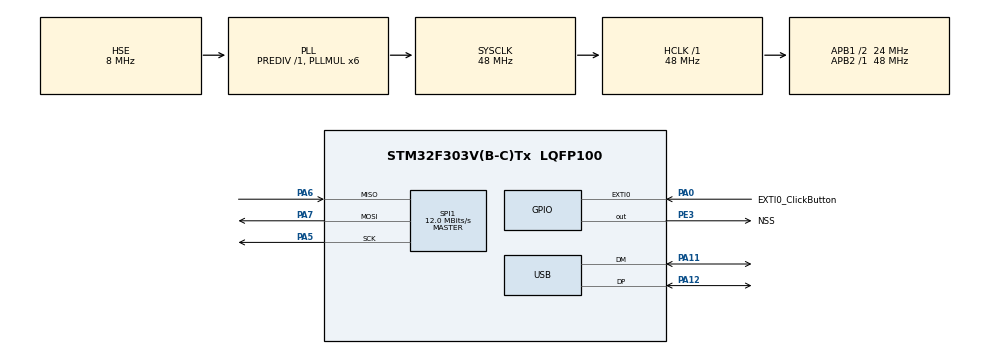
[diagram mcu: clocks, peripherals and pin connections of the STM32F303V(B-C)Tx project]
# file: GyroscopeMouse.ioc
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Mcu.Family=STM32F3
Mcu.Name=STM32F303V(B-C)Tx
Mcu.Package=LQFP100
NVIC.EXTI0_IRQn=true\:0\:0\:false\:false\:true\:true\:true
NVIC.PriorityGroup=NVIC_PRIORITYGROUP_4
NVIC.USB_LP_CAN_RX0_IRQn=true\:0\:0\:false\:false\:true\:false\:true
PA0.GPIO_Label=EXTI0_ClickButton
PA0.GPIO_ModeDefaultEXTI=GPIO_MODE_IT_FALLING
PA0.Signal=GPXTI0
PA11.Mode=Device
PA11.Signal=USB_DM
PA12.Mode=Device
PA12.Signal=USB_DP
PA5.Mode=Full_Duplex_Master
PA5.Signal=SPI1_SCK
PA6.Mode=Full_Duplex_Master
PA6.Signal=SPI1_MISO
PA7.Mode=Full_Duplex_Master
PA7.Signal=SPI1_MOSI
PE3.GPIO_Label=NSS
PE3.GPIO_Speed=GPIO_SPEED_FREQ_HIGH
PE3.PinState=GPIO_PIN_SET
PE3.Signal=GPIO_Output
PF0-OSC_IN.Mode=HSE-External-Oscillator
PF0-OSC_IN.Signal=RCC_OSC_IN
PF1-OSC_OUT.Mode=HSE-External-Oscillator
PF1-OSC_OUT.Signal=RCC_OSC_OUT
ProjectManager.HeapSize=0x1000
ProjectManager.StackSize=0x2000
ProjectManager.TargetToolchain=MDK-ARM V5
RCC.AHBFreq_Value=48000000
RCC.APB1CLKDivider=RCC_HCLK_DIV2
RCC.APB1Freq_Value=24000000
RCC.APB1TimFreq_Value=48000000
RCC.APB2Freq_Value=48000000
RCC.APB2TimFreq_Value=48000000
RCC.CortexFreq_Value=48000000
RCC.HCLKFreq_Value=48000000
RCC.HSE_VALUE=8000000
RCC.HSI_VALUE=8000000
RCC.LSE_VALUE=32768
RCC.PLLMUL=RCC_PLL_MUL6
RCC.SYSCLKFreq_VALUE=48000000
RCC.SYSCLKSourceVirtual=RCC_SYSCLKSOURCE_PLLCLK
RCC.USBFreq_Value=48000000
SPI1.BaudRatePrescaler=SPI_BAUDRATEPRESCALER_4
SPI1.CalculateBaudRate=12.0 MBits/s
SPI1.DataSize=SPI_DATASIZE_8BIT
SPI1.Direction=SPI_DIRECTION_2LINES
SPI1.Mode=SPI_MODE_MASTER
SPI1.VirtualType=VM_MASTER
USB_DEVICE.CLASS_NAME_FS=HID
USB_DEVICE.VirtualMode=Hid
USB_DEVICE.VirtualModeFS=Hid_FS
VP_USB_DEVICE_VS_USB_DEVICE_HID_FS.Mode=HID_FS
board=custom

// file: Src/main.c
/* USER CODE BEGIN Header */
/**
  ******************************************************************************
  * @file           : main.c
  * @brief          : Main program body
  ******************************************************************************
  * @attention
  *
  * <h2><center>&copy; Copyright (c) 2021 STMicroelectronics.
  * All rights reserved.</center></h2>
  *
  * This software component is licensed by ST under Ultimate Liberty license
  * SLA0044, the "License"; You may not use this file except in compliance with
  * the License. You may obtain a copy of the License at:
  *                             www.st.com/SLA0044
  *
  ******************************************************************************
  */
/* USER CODE END Header */
#include "main.h"
#include "usb_device.h"

/* USER CODE BEGIN Includes */
#include "usbd_hid.h"
/* USER CODE END Includes */

/* USER CODE BEGIN PD */
#define WHOAMI		0x0F
#define CTRL_REG1	0x20
#define TEMP			0x26
#define OUT_XL		0x28
#define OUT_XH		0x29
#define OUT_YL		0x2A
#define OUT_YH		0x2B
/* USER CODE END PD */

SPI_HandleTypeDef hspi1;

/* USER CODE BEGIN PV */
extern USBD_HandleTypeDef hUsbDeviceFS;
uint8_t clickflag = 0;
/* USER CODE END PV */

void SystemClock_Config(void);
static void MX_GPIO_Init(void);
static void MX_SPI1_Init(void);

/* USER CODE BEGIN 0 */

// ** Function to read the registers of the SPI sensor. **
// The reason the buffers are defined with size 2 is because SPI is a send-and-recieve protocol, so during the transmission
// of the first 8 bits (address) it is confused and sends garbage value. After the address transmission has finished, It will
// respond with the proper value on the second 8 bits, so we will have to send some value (here 0) just to get our reception.
uint8_t ReadSensor(uint8_t address, uint8_t* res)
{
		uint8_t txdata[2] = {0x80|address, 0};										// According to the gyroscope datasheet, the first bit
																															// in the 8-bit sequence must be "1" to indicate "read"
																															// hence why we OR the address with 0b1000_0000 = 0x80
		uint8_t rxdata[2] = {0, 0};
		HAL_GPIO_WritePin(GPIOE, GPIO_PIN_3, 0);									// Set NSS to 0 to begin the transmission between Master and Slave
		HAL_SPI_TransmitReceive(&hspi1, txdata, rxdata, 2, 100);
		HAL_GPIO_WritePin(GPIOE, GPIO_PIN_3, 1);									// Release the slave from the SPI bus by NSS = 1
		*res = rxdata[1];																				// The first read value (rxdata[0]) is garbage
}

void HAL_GPIO_EXTI_Callback(uint16_t GPIO_Pin)
{
  clickflag = 0x01;
}

/* USER CODE END 0 */

int main(void)
{

  /* MCU Configuration--------------------------------------------------------*/

  /* Reset of all peripherals, Initializes the Flash interface and the Systick. */
  HAL_Init();

  /* Configure the system clock */
  SystemClock_Config();

  /* Initialize all configured peripherals */
  MX_GPIO_Init();
  MX_USB_DEVICE_Init();
  MX_SPI1_Init();

  /* Infinite loop */
  /* USER CODE BEGIN WHILE */

	//Setting the gyroscope to Normal mode from power down, via the CTRL_REG1 register
	uint8_t cr1w[2] = {CTRL_REG1, 0x0F};
	HAL_GPIO_WritePin(GPIOE, GPIO_PIN_3, 0);	// NSS = 0, begin transmission
	HAL_SPI_Transmit(&hspi1, cr1w, 2, 100);
	HAL_GPIO_WritePin(GPIOE, GPIO_PIN_3, 1);  // NSS = 1, release the slave & stop transmission

	short X, Y, Z;
  while (1)
  {
    /* USER CODE END WHILE */

    /* USER CODE BEGIN 3 */
		uint8_t xl=0,xh=0,yl=0,yh=0,zl=0,zh=0;
		ReadSensor(OUT_XL, &xl);
		ReadSensor(OUT_XH, &xh);
		ReadSensor(OUT_YL, &yl);
		ReadSensor(OUT_YH, &yh);
		X = xh<<8 | xl;
		Y = yh<<8 | yl;

		uint8_t usbbuf[5] = {clickflag, Y/300, -X/300, 0x00, 0x00}; //5 bytes: click,X,Y,scroll,wakeup
		USBD_HID_SendReport(&hUsbDeviceFS, usbbuf, 5);
		clickflag = 0;

		HAL_Delay(10);
  }
  /* USER CODE END 3 */
}

void SystemClock_Config(void)
{
  RCC_OscInitTypeDef RCC_OscInitStruct = {0};
  RCC_ClkInitTypeDef RCC_ClkInitStruct = {0};
  RCC_PeriphCLKInitTypeDef PeriphClkInit = {0};

  /** Initializes the RCC Oscillators according to the specified parameters
  * in the RCC_OscInitTypeDef structure.
  */
  RCC_OscInitStruct.OscillatorType = RCC_OSCILLATORTYPE_HSE;
  RCC_OscInitStruct.HSEState = RCC_HSE_ON;
  RCC_OscInitStruct.HSEPredivValue = RCC_HSE_PREDIV_DIV1;
  RCC_OscInitStruct.HSIState = RCC_HSI_ON;
  RCC_OscInitStruct.PLL.PLLState = RCC_PLL_ON;
  RCC_OscInitStruct.PLL.PLLSource = RCC_PLLSOURCE_HSE;
  RCC_OscInitStruct.PLL.PLLMUL = RCC_PLL_MUL6;
  if (HAL_RCC_OscConfig(&RCC_OscInitStruct) != HAL_OK)
  {
    Error_Handler();
  }
  /** Initializes the CPU, AHB and APB buses clocks
  */
  RCC_ClkInitStruct.ClockType = RCC_CLOCKTYPE_HCLK|RCC_CLOCKTYPE_SYSCLK
                              |RCC_CLOCKTYPE_PCLK1|RCC_CLOCKTYPE_PCLK2;
  RCC_ClkInitStruct.SYSCLKSource = RCC_SYSCLKSOURCE_PLLCLK;
  RCC_ClkInitStruct.AHBCLKDivider = RCC_SYSCLK_DIV1;
  RCC_ClkInitStruct.APB1CLKDivider = RCC_HCLK_DIV2;
  RCC_ClkInitStruct.APB2CLKDivider = RCC_HCLK_DIV1;

  if (HAL_RCC_ClockConfig(&RCC_ClkInitStruct, FLASH_LATENCY_1) != HAL_OK)
  {
    Error_Handler();
  }
  PeriphClkInit.PeriphClockSelection = RCC_PERIPHCLK_USB;
  PeriphClkInit.USBClockSelection = RCC_USBCLKSOURCE_PLL;
  if (HAL_RCCEx_PeriphCLKConfig(&PeriphClkInit) != HAL_OK)
  {
    Error_Handler();
  }
}

static void MX_SPI1_Init(void)
{

  /* SPI1 parameter configuration*/
  hspi1.Instance = SPI1;
  hspi1.Init.Mode = SPI_MODE_MASTER;
  hspi1.Init.Direction = SPI_DIRECTION_2LINES;
  hspi1.Init.DataSize = SPI_DATASIZE_8BIT;
  hspi1.Init.CLKPolarity = SPI_POLARITY_LOW;
  hspi1.Init.CLKPhase = SPI_PHASE_1EDGE;
  hspi1.Init.NSS = SPI_NSS_SOFT;
  hspi1.Init.BaudRatePrescaler = SPI_BAUDRATEPRESCALER_4;
  hspi1.Init.FirstBit = SPI_FIRSTBIT_MSB;
  hspi1.Init.TIMode = SPI_TIMODE_DISABLE;
  hspi1.Init.CRCCalculation = SPI_CRCCALCULATION_DISABLE;
  hspi1.Init.CRCPolynomial = 7;
  hspi1.Init.CRCLength = SPI_CRC_LENGTH_DATASIZE;
  hspi1.Init.NSSPMode = SPI_NSS_PULSE_ENABLE;
  if (HAL_SPI_Init(&hspi1) != HAL_OK)
  {
    Error_Handler();
  }

}

static void MX_GPIO_Init(void)
{
  GPIO_InitTypeDef GPIO_InitStruct = {0};

  /* GPIO Ports Clock Enable */
  __HAL_RCC_GPIOE_CLK_ENABLE();
  __HAL_RCC_GPIOF_CLK_ENABLE();
  __HAL_RCC_GPIOA_CLK_ENABLE();

  /*Configure GPIO pin Output Level */
  HAL_GPIO_WritePin(NSS_GPIO_Port, NSS_Pin, GPIO_PIN_SET);

  /*Configure GPIO pin : NSS_Pin */
  GPIO_InitStruct.Pin = NSS_Pin;
  GPIO_InitStruct.Mode = GPIO_MODE_OUTPUT_PP;
  GPIO_InitStruct.Pull = GPIO_NOPULL;
  GPIO_InitStruct.Speed = GPIO_SPEED_FREQ_HIGH;
  HAL_GPIO_Init(NSS_GPIO_Port, &GPIO_InitStruct);

  /*Configure GPIO pin : EXTI0_ClickButton_Pin */
  GPIO_InitStruct.Pin = EXTI0_ClickButton_Pin;
  GPIO_InitStruct.Mode = GPIO_MODE_IT_FALLING;
  GPIO_InitStruct.Pull = GPIO_NOPULL;
  HAL_GPIO_Init(EXTI0_ClickButton_GPIO_Port, &GPIO_InitStruct);

  /* EXTI interrupt init*/
  HAL_NVIC_SetPriority(EXTI0_IRQn, 0, 0);
  HAL_NVIC_EnableIRQ(EXTI0_IRQn);

}

void Error_Handler(void)
{
  __disable_irq();
  while (1)
  {
  }
}

/************************ (C) COPYRIGHT STMicroelectronics *****END OF FILE****/
